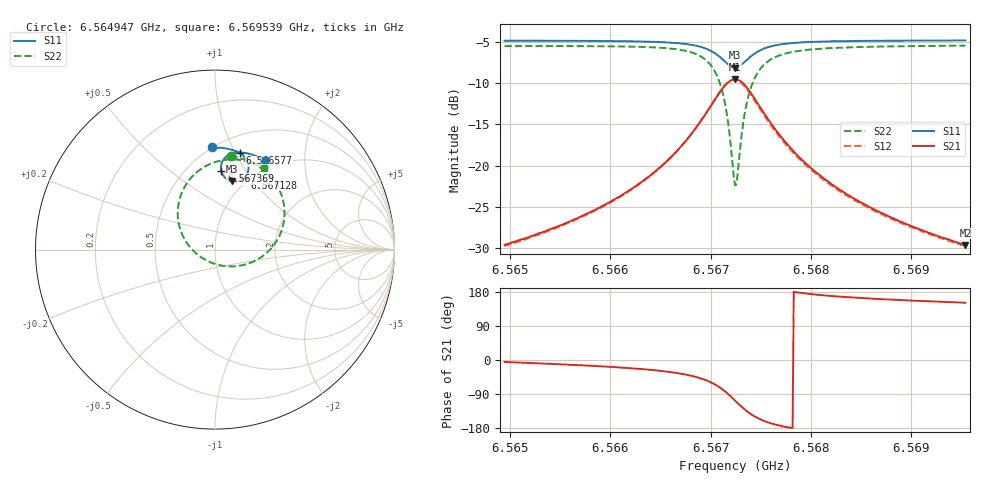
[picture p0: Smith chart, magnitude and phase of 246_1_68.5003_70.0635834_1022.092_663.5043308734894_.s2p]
#  HZ  S  RI  R  50.00
! Rohde & Schwarz Vector Network Analyzer
! Rohde-Schwarz,ZNB20-2Port,1311601062101988,3.16
! Created: UTC 3/20/2024, 5:14:45 PM
! freq[Hz]  re:S11  im:S11  re:S21  im:S21  re:S12  im:S12  re:S22  im:S22
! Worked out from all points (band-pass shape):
!   401 points, 6.564947 GHz to 6.569539 GHz, reference 50 ohm
!   highest |S21| = -9.56 dB at 6.567243 GHz (marker M1); lowest = -29.6 dB at 6.569539 GHz (marker M2)
!   |S21| within 3 dB of the highest: 6.567015 GHz to 6.567473 GHz (458.6 kHz wide, 0.00698 % of centre)
!   lowest |S11| = -8.1 dB at 6.567243 GHz (marker M3), VSWR 2.29, Z = 43.7 + j39.3 ohm
!   |S11| at or under -10 dB: nowhere
!   |S22| runs from -22.4 to -5.5 dB; largest |S21 - S12| = 0.017
!   S11 on the Smith chart (normalised r, x): 6.564947 GHz: 0.50, +0.84; 6.566577 GHz: 0.67, +1.04; 6.567128 GHz: 0.94, +0.93; 6.567369 GHz: 0.72, +0.78; 6.569539 GHz: 0.87, +1.29
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6.5649466e9  -0.0168 0.5689  0.033 -0.0031  0.0324 -0.00358  0.0868 0.5201
6.5657159e9  0.0486 0.5654  0.0481 -0.0119  0.0473 -0.0126  0.1669 0.5001
6.5661063e9  0.0854 0.5586  0.0618 -0.0225  0.061 -0.0231  0.219 0.4771
6.5664852e9  0.1265 0.5437  0.0852 -0.0456  0.0839 -0.0467  0.2869 0.4293
6.5665771e9  0.1379 0.5374  0.0927 -0.056  0.0915 -0.0572  0.3076 0.4086
6.5667952e9  0.1669 0.5121  0.1146 -0.099  0.1128 -0.1014  0.3623 0.3241
6.566956e9  0.1855 0.4736  0.1231 -0.1667  0.1197 -0.1707  0.3872 0.1939
6.5670593e9  0.1835 0.4329  0.1014 -0.2385  0.0943 -0.2435  0.3488 0.0574
6.5671282e9  0.1645 0.4015  0.0537 -0.2919  0.0424 -0.2958  0.259 -0.0412
6.5671742e9  0.1404 0.385  0.00149 -0.3181  -0.0129 -0.3187  0.1606 -0.0853
6.5672201e9  0.1089 0.3786  -0.0634 -0.3246  -0.0791 -0.32  0.0421 -0.0901
6.567243e9  0.0925 0.3806  -0.0967 -0.3182  -0.112 -0.3106  -0.0171 -0.0742
6.567266e9  0.0767 0.3863  -0.1282 -0.305  -0.1423 -0.295  -0.0713 -0.0464
6.5673234e9  0.0467 0.4123  -0.1883 -0.2516  -0.1968 -0.2373  -0.1691 0.057
6.5673694e9  0.0353 0.4383  -0.2126 -0.2002  -0.2163 -0.1857  -0.203 0.1507
6.5674612e9  0.0384 0.4838  -0.2137 -0.1128  -0.2117 -0.1015  -0.1903 0.3032
6.567599e9  0.0664 0.5212  -0.1761 -0.0407  -0.172 -0.0347  -0.1099 0.4238
6.5677598e9  0.0987 0.5373  -0.1352 -0.00676  -0.1317 -0.00365  -0.0261 0.4776
6.5680124e9  0.1378 0.5422  -0.0948 0.0106  -0.0923 0.0121  0.0625 0.5004
6.5683683e9  0.1788 0.537  -0.0643 0.0163  -0.0629 0.0171  0.1385 0.4995
6.5687817e9  0.2169 0.5257  -0.046 0.0171  -0.0449 0.0175  0.1972 0.487
6.5695395e9  0.2759 0.4994  -0.029 0.016  -0.0283 0.0161  0.2723 0.4562
